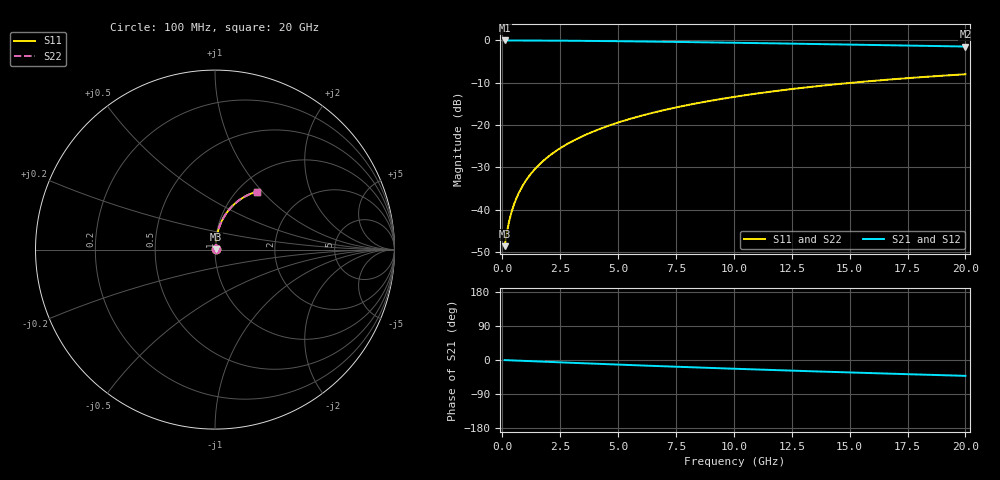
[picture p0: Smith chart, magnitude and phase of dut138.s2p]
! Touchstone file exported from HFSS 2024.1.0
!  File:  C:/UserFiles/LocalFiles/RDL_TSV_Batchsim/temp_RDL_bottom_138_1778696816.aedt
!  Generated:  02:29:31 AM May 14, 2026
!  Design:  RDL_bottom
!  Project:  temp_RDL_bottom_138_1778696816
!  Setup:  Setup1
!  Solution:  Sweep
! Variables:
!  dtsv = 10.80580581um
!  hbump = 3um
!  htsv = 79.21um
!  ldown = 588.07um
!  lrdl = 100um
!  p = 40
!  p1 = 47.86um
!  rhole = 1um
!  t = 450um
!  tdown = 4.06um
!  trdl = 3.915915916um
!  wdown = 18.36um
!  wrdl = 20um
# GHz S MA R 50.000000
! Terminal data exported
! Port[1] = RDL1_T1
! Port[2] = RDL1_T2
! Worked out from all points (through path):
!   200 points, 100 MHz to 20 GHz, reference 50 ohm
!   highest |S21| = -0.03 dB at 100 MHz (marker M1); lowest = -1.5 dB at 20 GHz (marker M2)
!   group delay of S21, straight-line fit = 5.78 ps
!   lowest |S11| = -48.6 dB at 100 MHz (marker M3), VSWR 1.01, Z = 50.3 + j0.23 ohm
!   |S11| at or under -10 dB: start of sweep to 15.11 GHz
!   |S22| runs from -48.6 to -8.0 dB; largest |S21 - S12| = 2e-15
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0.1  0.003724 37.9  0.9971 -0.3  0.9971 -0.3  0.003724 37.9
! Gamma 0 0 0 0
! Port Impedance 50 0 50 0
0.2  0.00546 55.9  0.9969 -0.5  0.9969 -0.5  0.00546 55.9
0.3  0.007423 64.4  0.9968 -0.8  0.9968 -0.8  0.007423 64.4
0.4  0.009434 69.2  0.9966 -1.0  0.9966 -1.0  0.009434 69.2
0.5  0.01146 72.3  0.9964 -1.3  0.9964 -1.3  0.01146 72.3
0.6  0.0135 74.5  0.9963 -1.5  0.9963 -1.5  0.0135 74.5
0.8  0.0176 77.4  0.996 -2.0  0.996 -2.0  0.0176 77.4
1.1  0.02381 79.8  0.9954 -2.8  0.9954 -2.8  0.02381 79.8
1.5  0.03217 81.5  0.9945 -3.7  0.9945 -3.7  0.03217 81.5
1.8  0.03849 82.1  0.9936 -4.5  0.9936 -4.5  0.03849 82.1
2.1  0.04483 82.4  0.9927 -5.2  0.9927 -5.2  0.04483 82.4
2.7  0.05758 82.5  0.9903 -6.7  0.9903 -6.7  0.05758 82.5
3.5  0.0747 82.1  0.9864 -8.6  0.9864 -8.6  0.0747 82.1
4.2  0.08978 81.5  0.9825 -10.3  0.9825 -10.3  0.08978 81.5
5  0.1071 80.6  0.9773 -12.1  0.9773 -12.1  0.1071 80.6
5.9  0.1267 79.4  0.971 -14.2  0.971 -14.2  0.1267 79.4
6.8  0.1463 78.0  0.9641 -16.2  0.9641 -16.2  0.1462 78.0
8.4  0.1809 75.3  0.9511 -19.7  0.9511 -19.7  0.1809 75.3
10.1  0.2171 72.3  0.9364 -23.2  0.9364 -23.2  0.2171 72.3
13.4  0.284 66.2  0.9065 -29.8  0.9065 -29.8  0.2839 66.1
16.7  0.3445 60.1  0.8758 -36.0  0.8758 -36.0  0.3445 60.1
20  0.3978 54.3  0.8451 -41.8  0.8451 -41.8  0.3978 54.2
